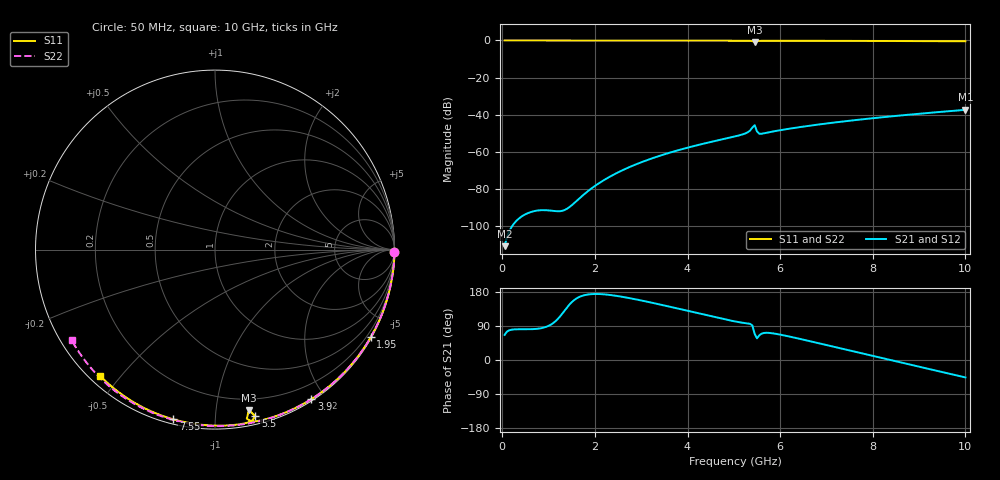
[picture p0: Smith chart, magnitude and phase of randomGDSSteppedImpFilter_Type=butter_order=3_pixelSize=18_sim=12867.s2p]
! freq	dB(S11)	phase(S11)	dB(S12)	phase(S12)
!  dB(S21)	phase(S21)	dB(S22)	phase(S22)
!S-par simulation data
#  GHz  S  DB  R 50
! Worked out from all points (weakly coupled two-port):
!   200 points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, 50 MHz to 10 GHz, reference 50 ohm
!   highest |S21| = -37.36 dB at 10 GHz (marker M1); lowest = -110.8 dB at 50 MHz (marker M2)
!   lowest |S11| = -0.8 dB at 5.45 GHz (marker M3), VSWR 22.11, Z = 5.68 - j61.4 ohm
!   |S11| at or under -10 dB: nowhere
!   |S22| runs from -0.5 to 0.0 dB; largest |S21 - S12| = 0
!   S11 on the Smith chart (normalised r, x): 50 MHz: open; 1.95 GHz: 0.03, -3.82; 3.9 GHz: 0.02, -1.83; 5.5 GHz: 0.06, -1.27; 7.55 GHz: 0.02, -0.78; 10 GHz: 0.03, -0.44
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0.05  -0.00 -0.8  -110.79 66.2  -110.79 66.2  -0.00 -0.9
0.9  -0.02 -13.7  -91.38 85.7  -91.38 85.7  -0.02 -15.4
1.75  -0.03 -26.4  -83.20 170.3  -83.20 170.3  -0.04 -29.6
1.9  -0.04 -28.6  -80.18 173.6  -80.18 173.6  -0.04 -32.1
1.95  -0.04 -29.3  -79.25 174.0  -79.25 174.0  -0.04 -32.9
2.25  -0.04 -33.7  -74.39 172.6  -74.39 172.6  -0.05 -37.9
2.6  -0.05 -38.8  -69.83 166.5  -69.83 166.5  -0.06 -43.6
2.95  -0.06 -43.9  -66.10 158.4  -66.10 158.4  -0.06 -49.2
3.4  -0.07 -50.2  -62.10 146.6  -62.10 146.6  -0.07 -56.3
3.9  -0.08 -57.2  -58.41 132.7  -58.41 132.7  -0.09 -64.0
5.05  -0.12 -73.0  -51.54 101.2  -51.54 101.2  -0.12 -81.2
5.3  -0.16 -77.0  -49.44 96.5  -49.44 96.5  -0.13 -84.8
5.35  -0.20 -78.0  -48.52 95.5  -48.52 95.5  -0.14 -85.5
5.4  -0.36 -79.4  -46.90 91.1  -46.90 91.1  -0.14 -86.2
5.45  -0.79 -78.1  -45.62 68.5  -45.62 68.5  -0.14 -86.9
5.5  -0.40 -76.4  -49.02 57.2  -49.02 57.2  -0.14 -87.6
5.55  -0.23 -77.6  -50.25 65.1  -50.25 65.1  -0.14 -88.4
5.6  -0.18 -78.7  -50.24 69.6  -50.24 69.6  -0.15 -89.1
6.7  -0.18 -93.4  -45.70 48.0  -45.70 48.0  -0.20 -104.3
7.55  -0.23 -103.8  -43.08 23.7  -43.08 23.7  -0.26 -115.8
8.35  -0.29 -113.3  -40.99 0.8  -40.99 0.8  -0.32 -126.3
10  -0.44 -132.4  -37.36 -46.0  -37.36 -46.0  -0.49 -147.7
